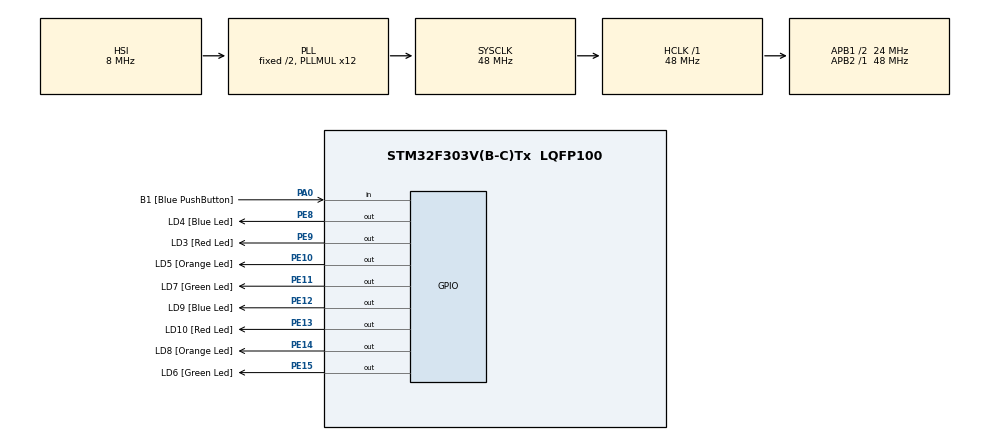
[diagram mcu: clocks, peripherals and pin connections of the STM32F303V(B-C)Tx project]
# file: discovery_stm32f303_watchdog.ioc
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Mcu.Family=STM32F3
WWDG.Counter=127
RCC.CortexFreq_Value=48000000
PE11.GPIO_Label=LD7 [Green Led]
VP_IWDG_VS_IWDG.Mode=IWDG_Activate
PA14.GPIO_Label=SWCLK
RCC.SYSCLKSourceVirtual=RCC_SYSCLKSOURCE_PLLCLK
PA0.GPIO_Label=B1 [Blue PushButton]
PC15-OSC32_OUT.GPIO_Label=OSC32_OUT
ProjectManager.StackSize=0x400
RCC.HCLKFreq_Value=48000000
RCC.APB2TimFreq_Value=48000000
RCC.AHBFreq_Value=48000000
RCC.HSE_VALUE=8000000
PF0-OSC_IN.GPIO_Label=OSC_IN
PB3.Mode=Trace_Asynchronous_SW
RCC.PLLMUL=RCC_PLL_MUL12
PE13.Signal=GPIO_Output
PE9.Signal=GPIO_Output
PA14.Mode=Trace_Asynchronous_SW
VP_SYS_VS_tim1.Mode=TIM1
PE10.Signal=GPIO_Output
PA0.Signal=GPIO_Input
Mcu.Package=LQFP100
NVIC.TimeBase=TIM1_UP_TIM16_IRQn
NVIC.TimeBaseIP=TIM1
PE12.GPIO_Label=LD9 [Blue Led]
RCC.APB1TimFreq_Value=48000000
WWDG.Window=96
PC14-OSC32_IN.GPIO_Label=OSC32_IN
PE10.GPIO_Label=LD5 [Orange Led]
WWDG.Prescaler=WWDG_PRESCALER_8
PF1-OSC_OUT.Signal=RCC_OSC_OUT
PB3.GPIO_Label=SWO
PE14.GPIO_Label=LD8 [Orange Led]
RCC.APB1CLKDivider=RCC_HCLK_DIV2
PC14-OSC32_IN.Signal=RCC_OSC32_IN
PA13.Signal=SYS_JTMS-SWDIO
PE15.GPIO_Label=LD6 [Green Led]
ProjectManager.TargetToolchain=STM32CubeIDE
PE8.GPIO_Label=LD4 [Blue Led]
RCC.USBFreq_Value=48000000
PE11.Signal=GPIO_Output
RCC.LSE_VALUE=32768
PC15-OSC32_OUT.Signal=RCC_OSC32_OUT
PE9.GPIO_Label=LD3 [Red Led]
PF0-OSC_IN.Mode=HSE-External-Clock-Source
board=STM32F3DISCOVERY
RCC.APB2Freq_Value=48000000
PE14.Signal=GPIO_Output
PE15.Signal=GPIO_Output
PE8.Signal=GPIO_Output
PF1-OSC_OUT.GPIO_Label=OSC_OUT
PA13.Mode=Trace_Asynchronous_SW
Mcu.Name=STM32F303V(B-C)Tx
PE12.Signal=GPIO_Output
PA13.GPIO_Label=SWDIO
PB3.Signal=SYS_JTDO-TRACESWO
RCC.SYSCLKFreq_VALUE=48000000
PE13.GPIO_Label=LD10 [Red Led]
PA14.Signal=SYS_JTCK-SWCLK
ProjectManager.HeapSize=0x200
VP_WWDG_VS_WWDG.Mode=WWDG_Activate
RCC.HSI_VALUE=8000000
NVIC.TIM1_UP_TIM16_IRQn=true\:0\:0\:false\:false\:true\:false\:true
NVIC.PriorityGroup=NVIC_PRIORITYGROUP_0
IWDG.Prescaler=IWDG_PRESCALER_256
PF0-OSC_IN.Signal=RCC_OSC_IN
RCC.APB1Freq_Value=24000000

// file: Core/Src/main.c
/* USER CODE BEGIN Header */
/**
  ******************************************************************************
  * @file           : main.c
  * @brief          : Main program body
  ******************************************************************************
  * @attention
  *
  * <h2><center>&copy; Copyright (c) 2021 STMicroelectronics.
  * All rights reserved.</center></h2>
  *
  * This software component is licensed by ST under BSD 3-Clause license,
  * the "License"; You may not use this file except in compliance with the
  * License. You may obtain a copy of the License at:
  *                        opensource.org/licenses/BSD-3-Clause
  *
  ******************************************************************************
  */
/* USER CODE END Header */
#include "main.h"
#include "iwdg.h"
#include "wwdg.h"
#include "gpio.h"

void SystemClock_Config(void);

int main(void) {

    /* MCU Configuration--------------------------------------------------------*/

    /* Reset of all peripherals, Initializes the Flash interface and the Systick. */
    HAL_Init();

    /* USER CODE BEGIN Init */

    // reset occurs due to watchdog test continuously
    // wait after reset => allow to notice the reset
    HAL_Delay(3000);

    /* USER CODE END Init */

    /* Configure the system clock */
    SystemClock_Config();

    /* Initialize all configured peripherals */
    MX_GPIO_Init();
    MX_IWDG_Init();
    MX_WWDG_Init();

    /* Infinite loop */
    /* USER CODE BEGIN WHILE */

    HAL_IWDG_Refresh(&hiwdg);
    //HAL_WWDG_Refresh(&hwwdg);
    //HAL_Delay(5000);
    HAL_GPIO_TogglePin(LD4_GPIO_Port, LD4_Pin);
    /* HAL_GPIO_TogglePin(LD3_GPIO_Port, LD3_Pin); */
    HAL_GPIO_TogglePin(LD5_GPIO_Port, LD5_Pin);
    /* HAL_GPIO_TogglePin(LD7_GPIO_Port, LD7_Pin); */
    HAL_GPIO_TogglePin(LD9_GPIO_Port, LD9_Pin);
    /* HAL_GPIO_TogglePin(LD10_GPIO_Port, LD10_Pin); */
    HAL_GPIO_TogglePin(LD8_GPIO_Port, LD8_Pin);
    /* HAL_GPIO_TogglePin(LD6_GPIO_Port, LD6_Pin); */

    // WWDG setup: fAPB=48MHz, Prescaler=8, T=127, W=127 => 1/(48e6/4096/8)*2*(127-0x40) => 0.086
    // T starts with 127 and gets decremented with frequency fAPB/4096/Prescaler/2
    // reset if refresh occurs when T > W
    // reset if refresh occurs when T < 0x40

    // WWDG setup: fAPB=48MHz, Prescaler=8, T=127, W=127 => 1/(48e6/4096/8)*2*(127-0x40) => 0.086
    // min. delay 0ms, max. delay = 86ms

    // WWDG setup: fAPB=48MHz, Prescaler=8, T=127, W=96 => t=1/(48e6/4096/8)*2, Dmin = t*(127-96) = 0.043, Dmax = t*(96-32) = 0.043
    // min. delay 43ms, max. delay = 86ms

    //uint32_t cnt = 0;
    uint8_t direction = 0;  // 0 => up, 1 => down
    uint8_t delay_pass_min = 43;
    uint8_t delay_pass_max = 85;
    uint8_t delay = delay_pass_min;
    //uint8_t delay = 85;     // 43..85ms
    //uint8_t delay_changed = 0;
    while(1) {
        //cnt += delay;
        HAL_Delay(delay);

        if(direction == 0) {
            if(delay < delay_pass_max) {
                delay += 1;
            } else {
                direction = 1;
            }
        } else {
            if(delay > delay_pass_min) {
                delay -= 1;
            } else {
                direction = 0;
            }
        }

        // test make delay too short
        //if((cnt > 15000) && (delay_changed == 0)) {
        //    delay_changed = 1;
        //    delay -= 1;     // after 15s change decrease delay by 1ms
        //}

        // test make delay too long
        //if((cnt > 15000) && (delay_changed == 0)) {
        //    delay_changed = 1;
        //    delay += 1;     // after 15s change increase delay by 1ms
        //}

        HAL_WWDG_Refresh(&hwwdg);
    /* USER CODE END WHILE */

    /* USER CODE BEGIN 3 */
        // 40kHz, prescaler 256 => 256/40e3*4095 = 26.2s
        HAL_IWDG_Refresh(&hiwdg);
    }
    /* USER CODE END 3 */
}

void SystemClock_Config(void) {
    RCC_OscInitTypeDef RCC_OscInitStruct = {0};
    RCC_ClkInitTypeDef RCC_ClkInitStruct = {0};

    /** Initializes the RCC Oscillators according to the specified parameters
    * in the RCC_OscInitTypeDef structure.
    */
    RCC_OscInitStruct.OscillatorType = RCC_OSCILLATORTYPE_HSI | RCC_OSCILLATORTYPE_LSI;
    RCC_OscInitStruct.HSIState = RCC_HSI_ON;
    RCC_OscInitStruct.HSICalibrationValue = RCC_HSICALIBRATION_DEFAULT;
    RCC_OscInitStruct.LSIState = RCC_LSI_ON;
    RCC_OscInitStruct.PLL.PLLState = RCC_PLL_ON;
    RCC_OscInitStruct.PLL.PLLSource = RCC_PLLSOURCE_HSI;
    RCC_OscInitStruct.PLL.PLLMUL = RCC_PLL_MUL12;
    if (HAL_RCC_OscConfig(&RCC_OscInitStruct) != HAL_OK) {
        Error_Handler();
    }
    /** Initializes the CPU, AHB and APB buses clocks
    */
    RCC_ClkInitStruct.ClockType = RCC_CLOCKTYPE_HCLK | RCC_CLOCKTYPE_SYSCLK
                                  | RCC_CLOCKTYPE_PCLK1 | RCC_CLOCKTYPE_PCLK2;
    RCC_ClkInitStruct.SYSCLKSource = RCC_SYSCLKSOURCE_PLLCLK;
    RCC_ClkInitStruct.AHBCLKDivider = RCC_SYSCLK_DIV1;
    RCC_ClkInitStruct.APB1CLKDivider = RCC_HCLK_DIV2;
    RCC_ClkInitStruct.APB2CLKDivider = RCC_HCLK_DIV1;

    if (HAL_RCC_ClockConfig(&RCC_ClkInitStruct, FLASH_LATENCY_1) != HAL_OK) {
        Error_Handler();
    }
}

void HAL_TIM_PeriodElapsedCallback(TIM_HandleTypeDef *htim) {
    if (htim->Instance == TIM1) {
        HAL_IncTick();
    }
}

void Error_Handler(void) {
    __disable_irq();
    while (1) {
    }
}

/************************ (C) COPYRIGHT STMicroelectronics *****END OF FILE****/
